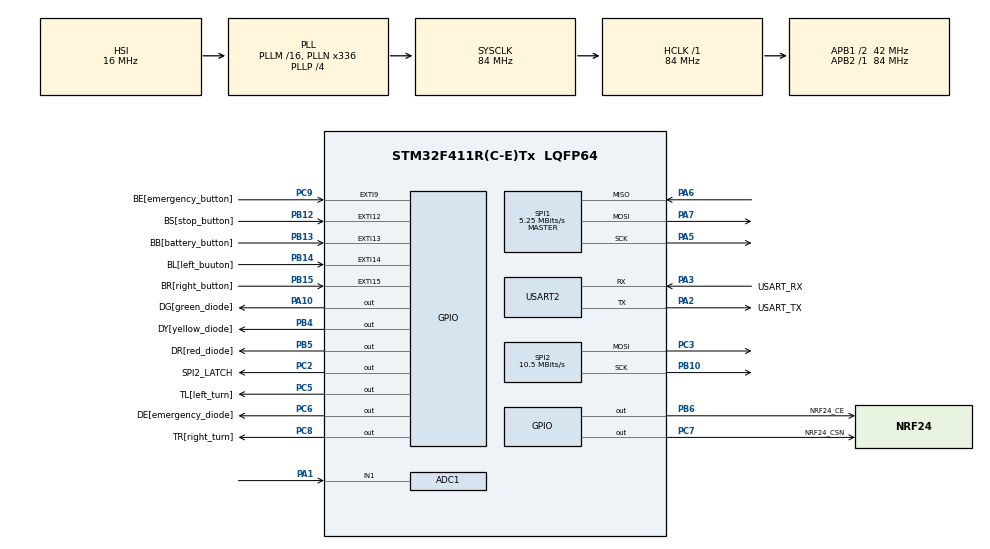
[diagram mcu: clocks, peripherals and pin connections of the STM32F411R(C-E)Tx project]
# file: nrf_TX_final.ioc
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ADC1.Channel-1\#ChannelRegularConversion=ADC_CHANNEL_1
ADC1.NbrOfConversionFlag=1
ADC1.Rank-1\#ChannelRegularConversion=1
ADC1.SamplingTime-1\#ChannelRegularConversion=ADC_SAMPLETIME_3CYCLES
ADC1.master=1
Mcu.Family=STM32F4
Mcu.Name=STM32F411R(C-E)Tx
Mcu.Package=LQFP64
NVIC.EXTI15_10_IRQn=true\:0\:2\:false\:false\:true\:true\:true\:true
NVIC.EXTI9_5_IRQn=true\:0\:1\:false\:false\:true\:true\:true\:true
NVIC.PriorityGroup=NVIC_PRIORITYGROUP_0
PA1.Signal=ADCx_IN1
PA10.GPIO_Label=DG[green_diode]
PA10.Signal=GPIO_Output
PA13.GPIO_Label=TMS
PA13.Mode=Serial_Wire
PA13.Signal=SYS_JTMS-SWDIO
PA14.GPIO_Label=TCK
PA14.Mode=Serial_Wire
PA14.Signal=SYS_JTCK-SWCLK
PA2.GPIO_Label=USART_TX
PA2.Mode=Asynchronous
PA2.Signal=USART2_TX
PA3.GPIO_Label=USART_RX
PA3.Mode=Asynchronous
PA3.Signal=USART2_RX
PA5.Mode=Full_Duplex_Master
PA5.Signal=SPI1_SCK
PA6.Mode=Full_Duplex_Master
PA6.Signal=SPI1_MISO
PA7.Mode=Full_Duplex_Master
PA7.Signal=SPI1_MOSI
PB10.Mode=TX_Only_Simplex_Unidirect_Master
PB10.Signal=SPI2_SCK
PB12.GPIO_Label=BS[stop_button]
PB12.GPIO_ModeDefaultEXTI=GPIO_MODE_IT_RISING_FALLING
PB12.Signal=GPXTI12
PB13.GPIO_Label=BB[battery_button]
PB13.Signal=GPXTI13
PB14.GPIO_Label=BL[left_buuton]
PB14.Signal=GPXTI14
PB15.GPIO_Label=BR[right_button]
PB15.Signal=GPXTI15
PB3.GPIO_Label=SWO
PB3.Signal=SYS_JTDO-SWO
PB4.GPIO_Label=DY[yellow_diode]
PB4.Signal=GPIO_Output
PB5.GPIO_Label=DR[red_diode]
PB5.Signal=GPIO_Output
PB6.GPIO_Label=NRF24_CE
PB6.Signal=GPIO_Output
PC14-OSC32_IN.Mode=LSE-External-Oscillator
PC14-OSC32_IN.Signal=RCC_OSC32_IN
PC15-OSC32_OUT.Mode=LSE-External-Oscillator
PC15-OSC32_OUT.Signal=RCC_OSC32_OUT
PC2.GPIO_Label=SPI2_LATCH
PC2.Signal=GPIO_Output
PC3.Mode=TX_Only_Simplex_Unidirect_Master
PC3.Signal=SPI2_MOSI
PC5.GPIO_Label=TL[left_turn]
PC5.Signal=GPIO_Output
PC6.GPIO_Label=DE[emergency_diode]
PC6.Signal=GPIO_Output
PC7.GPIO_Label=NRF24_CSN
PC7.Signal=GPIO_Output
PC8.GPIO_Label=TR[right_turn]
PC8.Signal=GPIO_Output
PC9.GPIO_Label=BE[emergency_button]
PC9.Signal=GPXTI9
PH0\ -\ OSC_IN.Mode=HSE-External-Oscillator
PH0\ -\ OSC_IN.Signal=RCC_OSC_IN
PH1\ -\ OSC_OUT.Mode=HSE-External-Oscillator
PH1\ -\ OSC_OUT.Signal=RCC_OSC_OUT
ProjectManager.HeapSize=0x200
ProjectManager.StackSize=0x400
ProjectManager.TargetToolchain=STM32CubeIDE
RCC.48MHZClocksFreq_Value=84000000
RCC.AHBFreq_Value=84000000
RCC.APB1CLKDivider=RCC_HCLK_DIV2
RCC.APB1Freq_Value=42000000
RCC.APB1TimFreq_Value=84000000
RCC.APB2Freq_Value=84000000
RCC.APB2TimFreq_Value=84000000
RCC.CortexFreq_Value=84000000
RCC.FLatency-AdvancedSettings=FLASH_LATENCY_2
RCC.HCLKFreq_Value=84000000
RCC.HSE_VALUE=8000000
RCC.HSI_VALUE=16000000
RCC.PLLN=336
RCC.PLLP=RCC_PLLP_DIV4
RCC.PWR_Regulator_Voltage_Scale=PWR_REGULATOR_VOLTAGE_SCALE2
RCC.SYSCLKFreq_VALUE=84000000
RCC.SYSCLKSource=RCC_SYSCLKSOURCE_PLLCLK
RCC.VCOOutputFreq_Value=336000000
SH.ADCx_IN1.0=ADC1_IN1,IN1
SPI1.BaudRatePrescaler=SPI_BAUDRATEPRESCALER_16
SPI1.CalculateBaudRate=5.25 MBits/s
SPI1.Direction=SPI_DIRECTION_2LINES
SPI1.Mode=SPI_MODE_MASTER
SPI1.VirtualType=VM_MASTER
SPI2.BaudRatePrescaler=SPI_BAUDRATEPRESCALER_4
SPI2.CalculateBaudRate=10.5 MBits/s
SPI2.Direction=SPI_DIRECTION_2LINES
SPI2.Mode=SPI_MODE_MASTER
SPI2.VirtualType=VM_MASTER
USART2.VirtualMode=VM_ASYNC
board=NUCLEO-F411RE

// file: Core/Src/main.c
/* USER CODE BEGIN Header */
/**
  ******************************************************************************
  * @file           : main.c
  * @brief          : Main program body
  ******************************************************************************
  * @attention
  *
  * Copyright (c) 2022 STMicroelectronics.
  * All rights reserved.
  *
  * This software is licensed under terms that can be found in the LICENSE file
  * in the root directory of this software component.
  * If no LICENSE file comes with this software, it is provided AS-IS.
  *
  ******************************************************************************
  */
/* USER CODE END Header */
#include "main.h"
#include "adc.h"
#include "spi.h"
#include "usart.h"
#include "gpio.h"

/* USER CODE BEGIN Includes */
#include "stdio.h"
#include "nRF24_Defs.h"
#include "nRF24.h"
#include "light_functions.h"
#include "ADC_functions.h"
/* USER CODE END Includes */

/* USER CODE BEGIN PV */

//UART///
int __io_putchar(int ch){
  if (ch == '\n') {
    __io_putchar('\r');
  }
  HAL_UART_Transmit(&huart2, (uint8_t*)&ch, 1, HAL_MAX_DELAY);
  return 1;
}

//GPIO IRQ//
void HAL_GPIO_EXTI_Callback(uint16_t GPIO_Pin)
{
    current_time = HAL_GetTick();		//time reading
    //button battery
    if((GPIO_Pin == BB_Pin) && (current_time - previous_time)>BUTTON_DEBOUNCE_TIME)
    {
        light = LIGHT_BATTERY;
    }
    //button stop
    if((GPIO_Pin == BS_Pin) && (current_time - previous_time)>STOP_DEBOUNCE_TIME)
    {
        light = LIGHT_STOP;
    }
    //button emergency
    if((GPIO_Pin == BE_Pin) && (current_time - previous_time)>BUTTON_DEBOUNCE_TIME)
    {
    	emergency_button_value = !emergency_button_value;		//toggle of value
        light = LIGHT_EMERGENCY;
    }
    //button left
    if((GPIO_Pin == BL_Pin) && (current_time - previous_time)>BUTTON_DEBOUNCE_TIME)
    {
    	left_button_value = !left_button_value;					//toggle of value
        light = LIGHT_LEFT;
    }
    //button right
    if((GPIO_Pin == BR_Pin) && (current_time - previous_time)>BUTTON_DEBOUNCE_TIME)
    {
        right_button_value = !right_button_value;				//toggle of value
        light = LIGHT_RIGHT;
    }
    previous_time = current_time;						//previous time assignment
}

/* USER CODE END PV */

void SystemClock_Config(void);

int main(void)
{

  /* MCU Configuration--------------------------------------------------------*/

  /* Reset of all peripherals, Initializes the Flash interface and the Systick. */
  HAL_Init();

  /* Configure the system clock */
  SystemClock_Config();

  /* Initialize all configured peripherals */
  MX_GPIO_Init();
  MX_USART2_UART_Init();
  MX_SPI1_Init();
  MX_ADC1_Init();
  MX_SPI2_Init();
  /* USER CODE BEGIN 2 */

  nRF24_Init(&hspi1);
  nRF24_SetRXAddress(0, "Nad");
  nRF24_SetTXAddress("Odb");
  nRF24_TX_Mode();

  /* USER CODE END 2 */

  /* Infinite loop */
  /* USER CODE BEGIN WHILE */
  while (1)
  {
      switch(light)
      {
      //battery
      case LIGHT_BATTERY:
    	  adc_value = get_adc_battery_value();
          battery_level_show(adc_value);
          light = LIGHT_INIT;				//default value
          break;
      //stop
      case LIGHT_STOP:
    	  stop_light_logic();
    	  light = LIGHT_INIT;
    	  break;
      //emergency
      case LIGHT_EMERGENCY:
    	  emergency_light_logic();
    	  light = LIGHT_INIT;
    	  break;
      //left turn
      case LIGHT_LEFT:
    	  left_light_logic();
    	  light = LIGHT_INIT;
    	  break;
      //right turn
      case LIGHT_RIGHT:
    	  right_light_logic();
    	  light = LIGHT_INIT;
    	  break;
      //empty (do nothing)
      case LIGHT_INIT:
    	  while(light == LIGHT_INIT){
    		  __NOP();						//do nothing
    	  }
    	  break;
      }

    /* USER CODE END WHILE */

  }
}

void SystemClock_Config(void)
{
  RCC_OscInitTypeDef RCC_OscInitStruct = {0};
  RCC_ClkInitTypeDef RCC_ClkInitStruct = {0};

  /** Configure the main internal regulator output voltage
  */
  __HAL_RCC_PWR_CLK_ENABLE();
  __HAL_PWR_VOLTAGESCALING_CONFIG(PWR_REGULATOR_VOLTAGE_SCALE2);

  /** Initializes the RCC Oscillators according to the specified parameters
  * in the RCC_OscInitTypeDef structure.
  */
  RCC_OscInitStruct.OscillatorType = RCC_OSCILLATORTYPE_HSI;
  RCC_OscInitStruct.HSIState = RCC_HSI_ON;
  RCC_OscInitStruct.HSICalibrationValue = RCC_HSICALIBRATION_DEFAULT;
  RCC_OscInitStruct.PLL.PLLState = RCC_PLL_ON;
  RCC_OscInitStruct.PLL.PLLSource = RCC_PLLSOURCE_HSI;
  RCC_OscInitStruct.PLL.PLLM = 16;
  RCC_OscInitStruct.PLL.PLLN = 336;
  RCC_OscInitStruct.PLL.PLLP = RCC_PLLP_DIV4;
  RCC_OscInitStruct.PLL.PLLQ = 4;
  if (HAL_RCC_OscConfig(&RCC_OscInitStruct) != HAL_OK)
  {
    Error_Handler();
  }

  /** Initializes the CPU, AHB and APB buses clocks
  */
  RCC_ClkInitStruct.ClockType = RCC_CLOCKTYPE_HCLK|RCC_CLOCKTYPE_SYSCLK
                              |RCC_CLOCKTYPE_PCLK1|RCC_CLOCKTYPE_PCLK2;
  RCC_ClkInitStruct.SYSCLKSource = RCC_SYSCLKSOURCE_PLLCLK;
  RCC_ClkInitStruct.AHBCLKDivider = RCC_SYSCLK_DIV1;
  RCC_ClkInitStruct.APB1CLKDivider = RCC_HCLK_DIV2;
  RCC_ClkInitStruct.APB2CLKDivider = RCC_HCLK_DIV1;

  if (HAL_RCC_ClockConfig(&RCC_ClkInitStruct, FLASH_LATENCY_2) != HAL_OK)
  {
    Error_Handler();
  }
}

void Error_Handler(void)
{
  __disable_irq();
  while (1)
  {
  }
}
